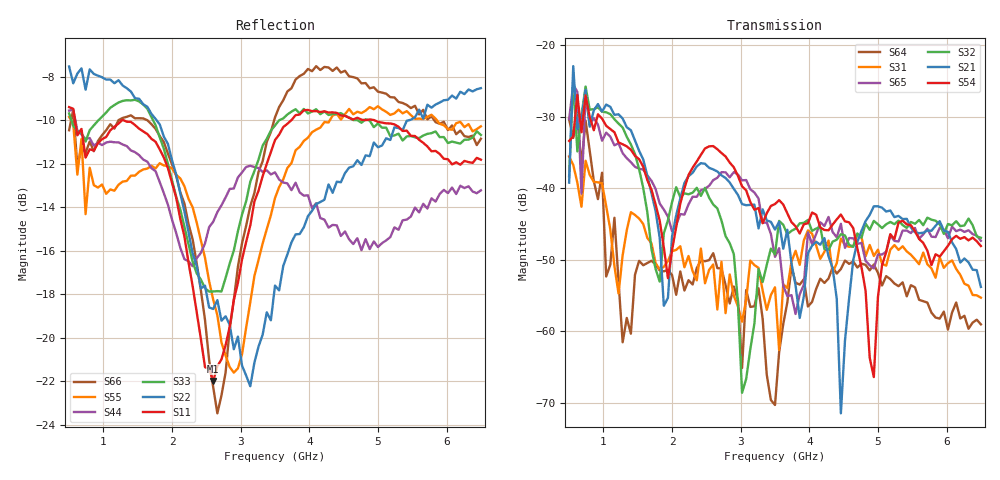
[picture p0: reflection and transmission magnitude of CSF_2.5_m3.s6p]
!Keysight Technologies,M9804A,MY58100912,A.14.10.03
!Date: Thursday, April 27, 2023 10:28:33
!Correction: S11(C  6-Port  )
!S12(C  6-Port  )
!S13(C  6-Port  )
!S14(C  6-Port  )
!S15(C  6-Port  )
!S16(C  6-Port  )
!S21(C  6-Port  )
!S22(C  6-Port  )
!S23(C  6-Port  )
!S24(C  6-Port  )
!S25(C  6-Port  )
!S26(C  6-Port  )
!S31(C  6-Port  )
!S32(C  6-Port  )
!S33(C  6-Port  )
!S34(C  6-Port  )
!S35(C  6-Port  )
!S36(C  6-Port  )
!S41(C  6-Port  )
!S42(C  6-Port  )
!S43(C  6-Port  )
!S44(C  6-Port  )
!S45(C  6-Port  )
!S46(C  6-Port  )
!S51(C  6-Port  )
!S52(C  6-Port  )
!S53(C  6-Port  )
!S54(C  6-Port  )
!S55(C  6-Port  )
!S56(C  6-Port  )
!S61(C  6-Port  )
!S62(C  6-Port  )
!S63(C  6-Port  )
!S64(C  6-Port  )
!S65(C  6-Port  )
!S66(C  6-Port  )
!S6P File: Measurement: :
# Hz S  RI  R 50
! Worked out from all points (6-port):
!   101 points, 500 MHz to 6.5 GHz, reference 50 ohm
!   strongest paths, dB at 500 MHz, 2 GHz, 3.5 GHz, 5 GHz, 6.5 GHz:
!     S54: -33.4, -48.7, -42.2, -55.2, -48.1
!     S21: -39.2, -46.8, -45.8, -42.6, -53.8
!     S32: -38.4, -42.0, -49.3, -45.1, -47.0
!     S65: -30.4, -46.0, -49.6, -49.3, -47.4
!     S31: -35.6, -48.8, -53.9, -48.6, -55.3
!     S64: -30.4, -52.2, -70.3, -51.9, -59.1
!   lowest |S11| = -22.0 dB at 2.6 GHz (marker M1), VSWR 1.17, Z = 42.9 + j2.05 ohm
!   |S11| at or under -10 dB: 586 MHz to 1.272 GHz (686.3 MHz wide, 73.9 % of centre); 1.295 GHz to 3.736 GHz (2.441 GHz wide, 97 % of centre); 4.949 GHz to end of sweep
